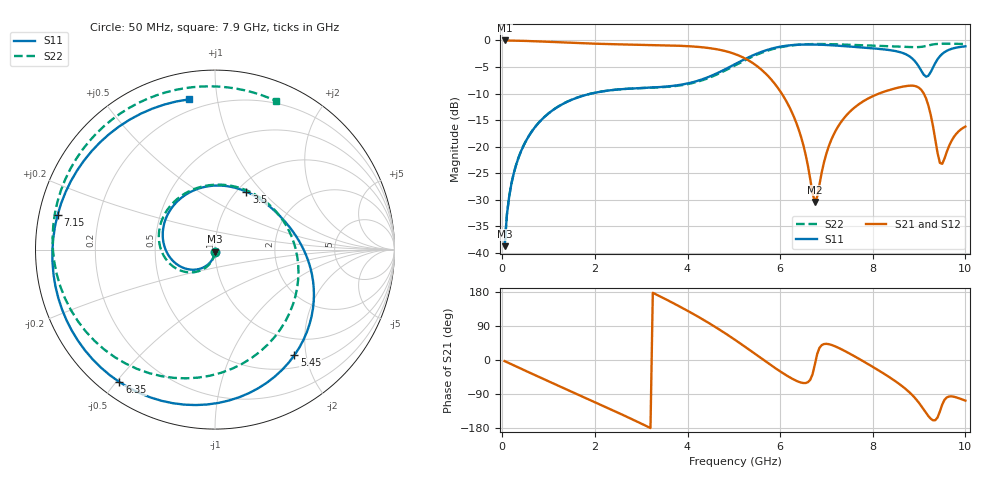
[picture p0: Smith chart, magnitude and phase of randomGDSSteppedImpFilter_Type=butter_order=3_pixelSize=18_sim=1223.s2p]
! freq	dB(S11)	phase(S11)	dB(S12)	phase(S12)
!  dB(S21)	phase(S21)	dB(S22)	phase(S22)
!S-par simulation data
#  GHz  S  DB  R 50
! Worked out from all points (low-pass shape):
!   200 points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, 50 MHz to 10 GHz, reference 50 ohm
!   highest |S21| = -0.01 dB at 50 MHz (marker M1); lowest = -30.4 dB at 6.75 GHz (marker M2)
!   |S21| within 3 dB of the highest: start of sweep to 5.15 GHz
!   lowest |S11| = -38.7 dB at 50 MHz (marker M3), VSWR 1.02, Z = 49.9 - j1.16 ohm
!   |S11| at or under -10 dB: start of sweep to 1.921 GHz
!   |S22| runs from -38.7 to -0.6 dB; largest |S21 - S12| = 0
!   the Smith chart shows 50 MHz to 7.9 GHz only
!   S11 on the Smith chart (normalised r, x): 50 MHz: 1.00, -0.02; 3.5 GHz: 1.10, +0.82; 5.45 GHz: 0.70, -1.79; 6.35 GHz: 0.06, -0.51; 7.15 GHz: 0.05, +0.11; 7.9 GHz: 0.14, +0.83
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0.05  -38.71 -92.3  -0.01 -2.9  -0.01 -2.9  -38.70 -91.9
0.2  -26.82 -102.2  -0.03 -11.4  -0.03 -11.4  -26.81 -100.6
0.5  -19.09 -120.8  -0.09 -28.4  -0.09 -28.4  -19.08 -116.8
1.75  -10.39 164.5  -0.54 -97.6  -0.54 -97.6  -10.38 179.0
2.65  -9.12 110.9  -0.76 -147.6  -0.76 -147.6  -9.13 132.6
3.4  -8.77 67.1  -0.89 168.3  -0.89 168.3  -8.82 88.3
3.5  -8.71 61.5  -0.91 162.1  -0.91 162.1  -8.77 81.7
4.35  -7.22 16.2  -1.32 105.6  -1.32 105.6  -7.40 13.7
5.05  -4.35 -24.5  -2.65 51.2  -2.65 51.2  -4.58 -55.8
5.45  -2.66 -53.1  -4.50 16.8  -4.50 16.8  -2.86 -97.5
6.35  -0.82 -125.8  -15.53 -54.9  -15.53 -54.9  -0.84 175.7
6.7  -0.76 -154.6  -28.78 -37.6  -28.78 -37.6  -0.69 147.0
6.75  -0.77 -158.8  -30.40 -11.5  -30.40 -11.5  -0.68 143.2
7.15  -0.93 167.6  -17.81 38.0  -17.81 38.0  -0.72 114.2
7.9  -1.42 99.7  -10.92 -10.9  -10.92 -10.9  -0.96 67.9
8.35  -1.80 52.7  -9.35 -44.6  -9.35 -44.6  -1.11 44.3
8.75  -2.76 -2.7  -8.55 -80.6  -8.55 -80.6  -1.24 26.0
9  -5.00 -66.3  -8.92 -113.5  -8.92 -113.5  -1.24 16.5
9.1  -6.43 -111.2  -9.96 -130.6  -9.96 -130.6  -1.13 13.1
9.25  -5.98 162.6  -13.95 -154.8  -13.95 -154.8  -0.84 7.0
9.5  -2.54 75.7  -23.21 -117.4  -23.21 -117.4  -0.61 -5.0
10  -1.11 9.3  -16.20 -107.2  -16.20 -107.2  -0.67 -25.6
